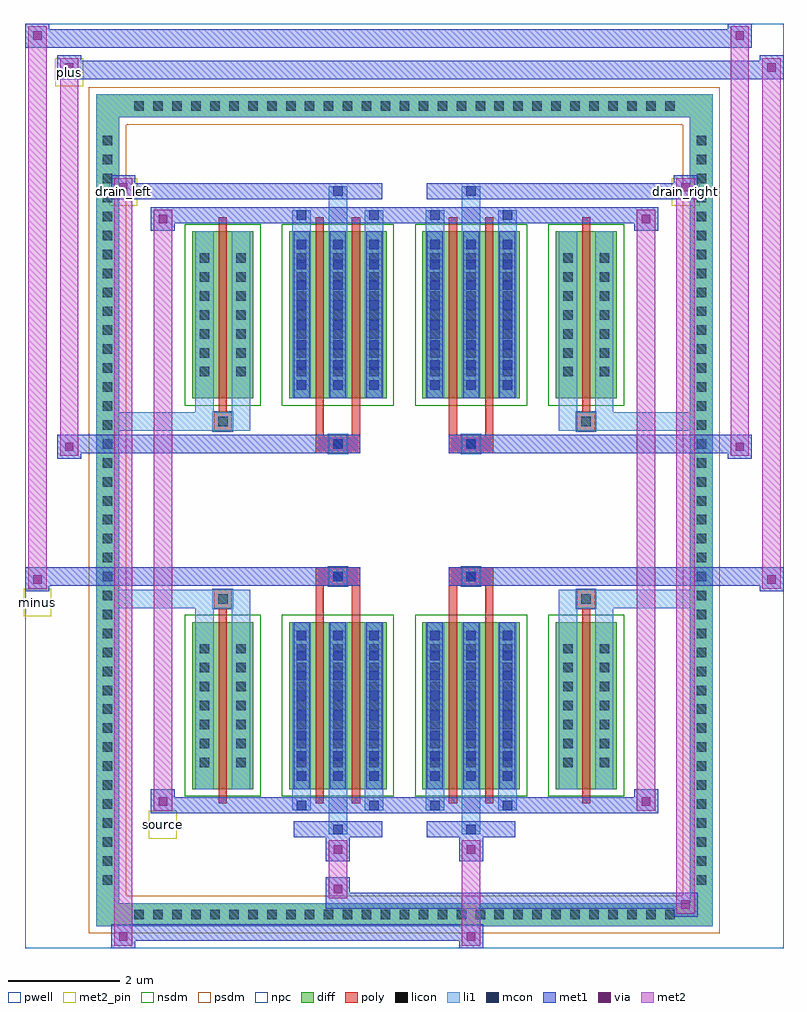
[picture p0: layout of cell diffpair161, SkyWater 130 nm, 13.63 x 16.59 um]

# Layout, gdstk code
import gdstk
lib = gdstk.Library(unit=1e-6, precision=5e-09)
def R(c, l, rs):  # rectangles x0, y0, x1, y1
    for r in rs: c.add(gdstk.rectangle(r[:2], r[2:], *l))
def A(c, l, x, y, w, h, nx, ny, dx, dy):  # array of equal rectangles
    R(c, l, [(x+i*dx, y+j*dy, x+i*dx+w, y+j*dy+h) for i in range(nx) for j in range(ny)])
def P(c, l, *ps):  # polygons
    for p in ps: c.add(gdstk.Polygon(p, *l))
pwell = (64, 44)
diff = (65, 20)
poly = (66, 20)
licon = (66, 44)
li1 = (67, 20)
mcon = (67, 44)
met1 = (68, 20)
via = (68, 44)
met2_pin = (69, 16)
met2 = (69, 20)
nsdm = (93, 44)
psdm = (94, 20)
npc = (95, 20)

diffpair161 = lib.new_cell('diffpair161')
R(diffpair161, pwell, [(-6.8,-7.86,6.8,8.73), (-4.12,-6.05,-0.01,-0.825), (0.01,-6.05,4.12,-0.825), (-4.12,0.825,-0.01,6.05), (0.01,0.825,4.12,6.05)])
A(diffpair161, diff, -4.965, -7.46, 0.41, 0.41, 29, 2, 0.34, 14.51)
A(diffpair161, diff, -5.53, -6.835, 0.41, 0.41, 1, 40, 0, 0.34)
A(diffpair161, diff, 5.12, -6.835, 0.41, 0.41, 1, 40, 0, 0.34)
R(diffpair161, diff, [(-4.965,-7.46,4.965,-7.05), (-5.53,-6.835,-5.12,6.835), (5.12,-6.835,5.53,6.835), (-3.81,-5.005,-2.71,-2.005), (-2.07,-5.005,-0.32,-2.005), (0.32,-5.005,2.07,-2.005), (2.71,-5.005,3.81,-2.005), (-3.81,2.005,-2.71,5.005), (-2.07,2.005,-0.32,5.005), (0.32,2.005,2.07,5.005), (2.71,2.005,3.81,5.005), (-4.965,7.05,4.965,7.46)])
P(diffpair161, diff, [(5.53,7.46),(-5.53,7.46),(-5.53,-7.05),(-5.12,-7.05),(-5.12,7.05),(5.12,7.05),(5.12,-7.05),(-5.12,-7.05),(-5.53,-7.05),(-5.53,-7.46),(5.53,-7.46)])
R(diffpair161, poly, [(-3.335,-5.255,-3.185,-1.755), (-1.595,-5.255,-1.445,-1.755), (-0.945,-5.255,-0.795,-1.755), (0.795,-5.255,0.945,-1.755), (1.445,-5.255,1.595,-1.755), (3.185,-5.255,3.335,-1.755), (-3.425,-1.755,-3.095,-1.425), (-3.425,-1.755,-3.095,-1.425), (-1.595,-1.755,-1.445,-1.355), (-0.945,-1.755,-0.795,-1.355), (0.795,-1.755,0.945,-1.355), (1.445,-1.755,1.595,-1.355), (3.095,-1.755,3.425,-1.425), (3.095,-1.755,3.425,-1.425), (-1.595,-1.355,-0.795,-1.025), (-1.36,-1.355,-1.03,-1.025), (0.795,-1.355,1.595,-1.025), (1.03,-1.355,1.36,-1.025), (-1.595,1.025,-0.795,1.355), (-1.36,1.025,-1.03,1.355), (0.795,1.025,1.595,1.355), (1.03,1.025,1.36,1.355), (-1.595,1.355,-1.445,1.755), (-0.945,1.355,-0.795,1.755), (0.795,1.355,0.945,1.755), (1.445,1.355,1.595,1.755), (-3.425,1.425,-3.095,1.755), (-3.425,1.425,-3.095,1.755), (3.095,1.425,3.425,1.755), (3.095,1.425,3.425,1.755), (-3.335,1.755,-3.185,5.255), (-1.595,1.755,-1.445,5.255), (-0.945,1.755,-0.795,5.255), (0.795,1.755,0.945,5.255), (1.445,1.755,1.595,5.255), (3.185,1.755,3.335,5.255)])
A(diffpair161, licon, -4.845, -7.34, 0.17, 0.17, 29, 2, 0.34, 14.51)
A(diffpair161, licon, -5.41, -6.715, 0.17, 0.17, 1, 40, 0, 0.34)
A(diffpair161, licon, 5.24, -6.715, 0.17, 0.17, 1, 40, 0, 0.34)
A(diffpair161, licon, -3.67, -4.61, 0.17, 0.17, 1, 7, 0, 0.34)
A(diffpair161, licon, -3.02, -4.61, 0.17, 0.17, 1, 7, 0, 0.34)
A(diffpair161, licon, -1.93, -4.61, 0.17, 0.17, 3, 7, 0.65, 0.34)
A(diffpair161, licon, 0.46, -4.61, 0.17, 0.17, 3, 7, 0.65, 0.34)
A(diffpair161, licon, 2.85, -4.61, 0.17, 0.17, 1, 7, 0, 0.34)
A(diffpair161, licon, 3.5, -4.61, 0.17, 0.17, 1, 7, 0, 0.34)
A(diffpair161, licon, -3.67, 2.4, 0.17, 0.17, 1, 7, 0, 0.34)
A(diffpair161, licon, -3.02, 2.4, 0.17, 0.17, 1, 7, 0, 0.34)
A(diffpair161, licon, -1.93, 2.4, 0.17, 0.17, 3, 7, 0.65, 0.34)
A(diffpair161, licon, 0.46, 2.4, 0.17, 0.17, 3, 7, 0.65, 0.34)
A(diffpair161, licon, 2.85, 2.4, 0.17, 0.17, 1, 7, 0, 0.34)
A(diffpair161, licon, 3.5, 2.4, 0.17, 0.17, 1, 7, 0, 0.34)
R(diffpair161, licon, [(-3.345,-1.675,-3.175,-1.505), (3.175,-1.675,3.345,-1.505), (-1.28,-1.275,-1.11,-1.105), (1.11,-1.275,1.28,-1.105), (-1.28,1.105,-1.11,1.275), (1.11,1.105,1.28,1.275), (-3.345,1.505,-3.175,1.675), (3.175,1.505,3.345,1.675)])
A(diffpair161, li1, -4.925, -7.42, 0.33, 0.33, 29, 2, 0.34, 14.51)
A(diffpair161, li1, -5.49, -6.795, 0.33, 0.33, 1, 40, 0, 0.34)
A(diffpair161, li1, 5.16, -6.795, 0.33, 0.33, 1, 40, 0, 0.34)
A(diffpair161, li1, -2.01, -5.005, 0.33, 3, 3, 2, 0.65, 7.01)
A(diffpair161, li1, 0.38, -5.005, 0.33, 3, 3, 2, 0.65, 7.01)
A(diffpair161, li1, -1.93, -4.85, 0.17, 0.17, 3, 8, 0.65, 0.36)
A(diffpair161, li1, -1.93, -4.85, 0.17, 2.69, 3, 2, 0.65, 7.01)
A(diffpair161, li1, 0.46, -4.85, 0.17, 0.17, 3, 8, 0.65, 0.36)
A(diffpair161, li1, 0.46, -4.85, 0.17, 2.69, 3, 2, 0.65, 7.01)
A(diffpair161, li1, -3.75, -4.69, 0.33, 0.33, 1, 7, 0, 0.34)
A(diffpair161, li1, -3.1, -4.69, 0.33, 0.33, 1, 7, 0, 0.34)
A(diffpair161, li1, -2.01, -4.69, 0.33, 0.33, 3, 7, 0.65, 0.34)
A(diffpair161, li1, 0.38, -4.69, 0.33, 0.33, 3, 7, 0.65, 0.34)
A(diffpair161, li1, 2.77, -4.69, 0.33, 0.33, 1, 7, 0, 0.34)
A(diffpair161, li1, 3.42, -4.69, 0.33, 0.33, 1, 7, 0, 0.34)
A(diffpair161, li1, -1.93, 2.16, 0.17, 0.17, 3, 8, 0.65, 0.36)
A(diffpair161, li1, 0.46, 2.16, 0.17, 0.17, 3, 8, 0.65, 0.36)
A(diffpair161, li1, -3.75, 2.32, 0.33, 0.33, 1, 7, 0, 0.34)
A(diffpair161, li1, -3.1, 2.32, 0.33, 0.33, 1, 7, 0, 0.34)
A(diffpair161, li1, -2.01, 2.32, 0.33, 0.33, 3, 7, 0.65, 0.34)
A(diffpair161, li1, 0.38, 2.32, 0.33, 0.33, 3, 7, 0.65, 0.34)
A(diffpair161, li1, 2.77, 2.32, 0.33, 0.33, 1, 7, 0, 0.34)
A(diffpair161, li1, 3.42, 2.32, 0.33, 0.33, 1, 7, 0, 0.34)
R(diffpair161, li1, [(-5.53,-7.46,-5.12,-7.05), (-5.53,-7.46,-5.12,-7.05), (-5.12,-7.46,5.12,-7.05), (5.12,-7.46,5.53,-7.05), (5.12,-7.46,5.53,-7.05), (-5.53,-7.05,-5.12,7.05), (5.12,-7.05,5.53,7.05), (-1.36,-5.81,-1.03,-5.005), (-1.28,-5.81,-1.11,-5.64), (1.03,-5.81,1.36,-5.005), (1.11,-5.81,1.28,-5.64), (-2.01,-5.38,-1.68,-5.005), (-1.93,-5.38,-1.76,-5.21), (-0.71,-5.38,-0.38,-5.005), (-0.63,-5.38,-0.46,-5.21), (0.38,-5.38,0.71,-5.005), (0.46,-5.38,0.63,-5.21), (1.68,-5.38,2.01,-5.005), (1.76,-5.38,1.93,-5.21), (-3.75,-5.005,-3.42,-2.005), (-3.1,-5.005,-2.77,-2.005), (2.77,-5.005,3.1,-2.005), (3.42,-5.005,3.75,-2.005), (-3.75,-2.005,-3.42,-1.425), (-3.1,-2.005,-2.77,-1.425), (2.77,-2.005,3.1,-1.425), (3.42,-2.005,3.75,-1.425), (-5.53,-1.755,-3.425,-1.425), (-3.75,-1.755,-3.425,-1.425), (-3.425,-1.755,-3.095,-1.425), (-3.095,-1.755,-2.77,-1.425), (2.77,-1.755,3.095,-1.425), (3.095,-1.755,3.425,-1.425), (3.095,-1.755,5.53,-1.425), (3.425,-1.755,3.75,-1.425), (-1.36,-1.355,-1.03,-1.025), (1.03,-1.355,1.36,-1.025), (-1.36,1.025,-1.03,1.355), (1.03,1.025,1.36,1.355), (-5.53,1.425,-3.425,1.755), (-3.75,1.425,-3.425,1.755), (-3.75,1.425,-3.42,2.005), (-3.425,1.425,-3.095,1.755), (-3.1,1.425,-2.77,2.005), (-3.095,1.425,-2.77,1.755), (2.77,1.425,3.095,1.755), (2.77,1.425,3.1,2.005), (3.095,1.425,3.425,1.755), (3.095,1.425,5.53,1.755), (3.42,1.425,3.75,2.005), (3.425,1.425,3.75,1.755), (-3.75,2.005,-3.42,5.005), (-3.1,2.005,-2.77,5.005), (2.77,2.005,3.1,5.005), (3.42,2.005,3.75,5.005), (-2.01,5.005,-1.68,5.38), (-1.36,5.005,-1.03,5.81), (-0.71,5.005,-0.38,5.38), (0.38,5.005,0.71,5.38), (1.03,5.005,1.36,5.81), (1.68,5.005,2.01,5.38), (-1.93,5.21,-1.76,5.38), (-0.63,5.21,-0.46,5.38), (0.46,5.21,0.63,5.38), (1.76,5.21,1.93,5.38), (-1.28,5.64,-1.11,5.81), (1.11,5.64,1.28,5.81), (-5.53,7.05,-5.12,7.46), (-5.53,7.05,-5.12,7.46), (-5.12,7.05,5.12,7.46), (5.12,7.05,5.53,7.46), (5.12,7.05,5.53,7.46)])
A(diffpair161, mcon, -1.93, -4.85, 0.17, 0.17, 3, 8, 0.65, 0.36)
A(diffpair161, mcon, 0.46, -4.85, 0.17, 0.17, 3, 8, 0.65, 0.36)
A(diffpair161, mcon, -1.93, 2.16, 0.17, 0.17, 3, 8, 0.65, 0.36)
A(diffpair161, mcon, 0.46, 2.16, 0.17, 0.17, 3, 8, 0.65, 0.36)
R(diffpair161, mcon, [(-1.28,-5.81,-1.11,-5.64), (1.11,-5.81,1.28,-5.64), (-1.93,-5.38,-1.76,-5.21), (-0.63,-5.38,-0.46,-5.21), (0.46,-5.38,0.63,-5.21), (1.76,-5.38,1.93,-5.21), (-1.28,-1.275,-1.11,-1.105), (1.11,-1.275,1.28,-1.105), (-1.28,1.105,-1.11,1.275), (1.11,1.105,1.28,1.275), (-1.93,5.21,-1.76,5.38), (-0.63,5.21,-0.46,5.38), (0.46,5.21,0.63,5.38), (1.76,5.21,1.93,5.38), (-1.28,5.64,-1.11,5.81), (1.11,5.64,1.28,5.81)])
A(diffpair161, met1, -1.99, -5.005, 0.29, 3, 3, 2, 0.65, 7.01)
A(diffpair161, met1, 0.4, -5.005, 0.29, 3, 3, 2, 0.65, 7.01)
A(diffpair161, met1, -1.99, -4.91, 0.29, 0.29, 3, 8, 0.65, 0.36)
A(diffpair161, met1, 0.4, -4.91, 0.29, 0.29, 3, 8, 0.65, 0.36)
A(diffpair161, met1, -1.99, 2.1, 0.29, 0.29, 3, 8, 0.65, 0.36)
A(diffpair161, met1, 0.4, 2.1, 0.29, 0.29, 3, 8, 0.65, 0.36)
R(diffpair161, met1, [(-5.26,-7.86,-4.83,-7.43), (0.98,-7.86,1.41,-7.43), (-5.26,-7.72,1.41,-7.43), (4.83,-7.29,5.26,-6.86), (-1.41,-7.15,5.26,-6.86), (-1.41,-7.01,-0.98,-6.58), (-1.41,-6.3,-0.98,-5.87), (0.98,-6.3,1.41,-5.87), (-1.99,-5.87,-0.4,-5.58), (-1.34,-5.87,-1.05,-5.58), (0.4,-5.87,1.99,-5.58), (1.05,-5.87,1.34,-5.58), (-4.55,-5.44,-4.12,-5.01), (-4.55,-5.44,-1.99,-5.15), (-1.99,-5.44,-1.7,-5.15), (-1.99,-5.44,-0.4,-5.15), (-0.69,-5.44,-0.4,-5.15), (-0.4,-5.44,0.4,-5.15), (0.4,-5.44,0.69,-5.15), (0.4,-5.44,1.99,-5.15), (1.7,-5.44,1.99,-5.15), (1.99,-5.44,4.55,-5.15), (4.12,-5.44,4.55,-5.01), (-6.8,-1.455,-6.37,-1.025), (6.37,-1.455,6.8,-1.025), (-6.8,-1.355,-0.795,-1.025), (-1.595,-1.355,-0.795,-1.025), (0.795,-1.355,1.595,-1.025), (0.795,-1.355,6.8,-1.025), (-1.34,-1.335,-1.05,-1.045), (1.05,-1.335,1.34,-1.045), (-6.23,0.925,-5.8,1.355), (5.8,0.925,6.23,1.355), (-6.23,1.025,-1.595,1.355), (-1.595,1.025,-0.795,1.355), (0.795,1.025,1.595,1.355), (1.595,1.025,6.23,1.355), (-1.34,1.045,-1.05,1.335), (1.05,1.045,1.34,1.335), (-4.55,5.01,-4.12,5.44), (4.12,5.01,4.55,5.44), (-4.55,5.15,-1.99,5.44), (-1.99,5.15,-1.7,5.44), (-1.99,5.15,-0.4,5.44), (-0.69,5.15,-0.4,5.44), (-0.4,5.15,0.4,5.44), (0.4,5.15,0.69,5.44), (0.4,5.15,1.99,5.44), (1.7,5.15,1.99,5.44), (1.99,5.15,4.55,5.44), (-5.26,5.58,-4.83,6.01), (-5.26,5.58,-1.99,5.87), (-1.99,5.58,-0.4,5.87), (-1.34,5.58,-1.05,5.87), (0.4,5.58,1.99,5.87), (1.05,5.58,1.34,5.87), (1.99,5.58,5.26,5.87), (4.83,5.58,5.26,6.01), (-6.23,7.73,-5.8,8.16), (-6.23,7.73,-4.12,8.06), (-4.12,7.73,4.12,8.06), (4.12,7.73,6.8,8.06), (6.37,7.73,6.8,8.16), (-6.8,8.3,-6.37,8.73), (-6.8,8.3,-4.12,8.63), (-4.12,8.3,4.12,8.63), (4.12,8.3,6.23,8.63), (5.8,8.3,6.23,8.73)])
R(diffpair161, via, [(-5.12,-7.72,-4.97,-7.57), (1.12,-7.72,1.27,-7.57), (4.97,-7.15,5.12,-7), (-1.27,-6.87,-1.12,-6.72), (-1.27,-6.16,-1.12,-6.01), (1.12,-6.16,1.27,-6.01), (-4.41,-5.3,-4.26,-5.15), (4.26,-5.3,4.41,-5.15), (-6.66,-1.315,-6.51,-1.165), (6.51,-1.315,6.66,-1.165), (-6.09,1.065,-5.94,1.215), (5.94,1.065,6.09,1.215), (-4.41,5.15,-4.26,5.3), (4.26,5.15,4.41,5.3), (-5.12,5.72,-4.97,5.87), (4.97,5.72,5.12,5.87), (-6.09,7.87,-5.94,8.02), (6.51,7.87,6.66,8.02), (-6.66,8.44,-6.51,8.59), (5.94,8.44,6.09,8.59)])
R(diffpair161, met2_pin, [(-4.585,-5.89,-4.085,-5.39), (-6.835,-1.905,-6.335,-1.405), (-5.295,5.46,-4.795,5.96), (4.795,5.46,5.295,5.96), (-6.265,7.61,-5.765,8.11)])
R(diffpair161, met2, [(-5.21,-7.81,-4.88,-7.48), (-5.21,-7.81,-4.88,5.96), (1.03,-7.81,1.36,-7.48), (1.03,-7.48,1.36,-6.25), (4.88,-7.24,5.21,-6.91), (4.88,-7.24,5.21,5.96), (-1.36,-6.96,-1.03,-6.63), (-1.36,-6.63,-1.03,-6.25), (-1.36,-6.25,-1.03,-5.92), (1.03,-6.25,1.36,-5.92), (-4.5,-5.39,-4.17,-5.06), (-4.5,-5.39,-4.17,5.39), (4.17,-5.39,4.5,-5.06), (4.17,-5.39,4.5,5.39), (-6.75,-1.405,-6.42,-1.075), (-6.75,-1.405,-6.42,8.68), (6.42,-1.405,6.75,-1.075), (6.42,-1.405,6.75,8.11), (-6.18,0.975,-5.85,1.305), (-6.18,0.975,-5.85,8.11), (5.85,0.975,6.18,1.305), (5.85,0.975,6.18,8.68), (-4.5,5.06,-4.17,5.39), (4.17,5.06,4.5,5.39), (-5.21,5.63,-4.88,5.96), (4.88,5.63,5.21,5.96), (-6.18,7.78,-5.85,8.11), (6.42,7.78,6.75,8.11), (-6.75,8.35,-6.42,8.68), (5.85,8.35,6.18,8.68)])
P(diffpair161, met2, [(6.75,-1.405),(6.75,-1.405),(6.75,-1.075),(6.75,-1.075)],
  [(6.75,7.78),(6.75,7.78),(6.75,8.11),(6.75,8.11)],
  [(-6.42,-1.405),(-6.42,-1.405),(-6.42,-1.075),(-6.42,-1.075)],
  [(-6.42,8.35),(-6.42,8.35),(-6.42,8.68),(-6.42,8.68)],
  [(6.18,0.975),(6.18,0.975),(6.18,1.305),(6.18,1.305)],
  [(6.18,8.35),(6.18,8.35),(6.18,8.68),(6.18,8.68)],
  [(-5.85,0.975),(-5.85,0.975),(-5.85,1.305),(-5.85,1.305)],
  [(-5.85,7.78),(-5.85,7.78),(-5.85,8.11),(-5.85,8.11)],
  [(-4.88,-7.81),(-4.88,-7.81),(-4.88,-7.48),(-4.88,-7.48)],
  [(-4.88,5.63),(-4.88,5.63),(-4.88,5.96),(-4.88,5.96)],
  [(5.21,-7.24),(5.21,-7.24),(5.21,-6.91),(5.21,-6.91)],
  [(5.21,5.63),(5.21,5.63),(5.21,5.96),(5.21,5.96)],
  [(-4.17,-5.39),(-4.17,-5.39),(-4.17,-5.06),(-4.17,-5.06)],
  [(-4.17,5.06),(-4.17,5.06),(-4.17,5.39),(-4.17,5.39)],
  [(4.5,-5.39),(4.5,-5.39),(4.5,-5.06),(4.5,-5.06)],
  [(4.5,5.06),(4.5,5.06),(4.5,5.39),(4.5,5.39)])
R(diffpair161, nsdm, [(-3.94,-5.135,-2.58,-1.875), (-2.2,-5.135,-0.19,-1.875), (0.19,-5.135,2.2,-1.875), (2.58,-5.135,3.94,-1.875), (-3.94,1.875,-2.58,5.135), (-2.2,1.875,-0.19,5.135), (0.19,1.875,2.2,5.135), (2.58,1.875,3.94,5.135)])
P(diffpair161, psdm, [(5.66,7.59),(-5.66,7.59),(-5.66,-6.92),(-4.99,-6.92),(-4.99,6.92),(4.99,6.92),(4.99,-6.92),(-4.99,-6.92),(-5.66,-6.92),(-5.66,-7.59),(5.66,-7.59)])
R(diffpair161, npc, [(-3.445,-1.775,-3.075,-1.405), (3.075,-1.775,3.445,-1.405), (-1.38,-1.375,-1.01,-1.005), (1.01,-1.375,1.38,-1.005), (-1.38,1.005,-1.01,1.375), (1.01,1.005,1.38,1.375), (-3.445,1.405,-3.075,1.775), (3.075,1.405,3.445,1.775)])
diffpair161.add(gdstk.Label('minus', (-6.585,-1.655), layer=69, texttype=5))
diffpair161.add(gdstk.Label('drain_right', (5.045,5.71), layer=69, texttype=5))
diffpair161.add(gdstk.Label('drain_left', (-5.045,5.71), layer=69, texttype=5))
diffpair161.add(gdstk.Label('source', (-4.335,-5.64), layer=69, texttype=5))
diffpair161.add(gdstk.Label('plus', (-6.015,7.86), layer=69, texttype=5))

lib.write_gds('diffpair161.gds')
